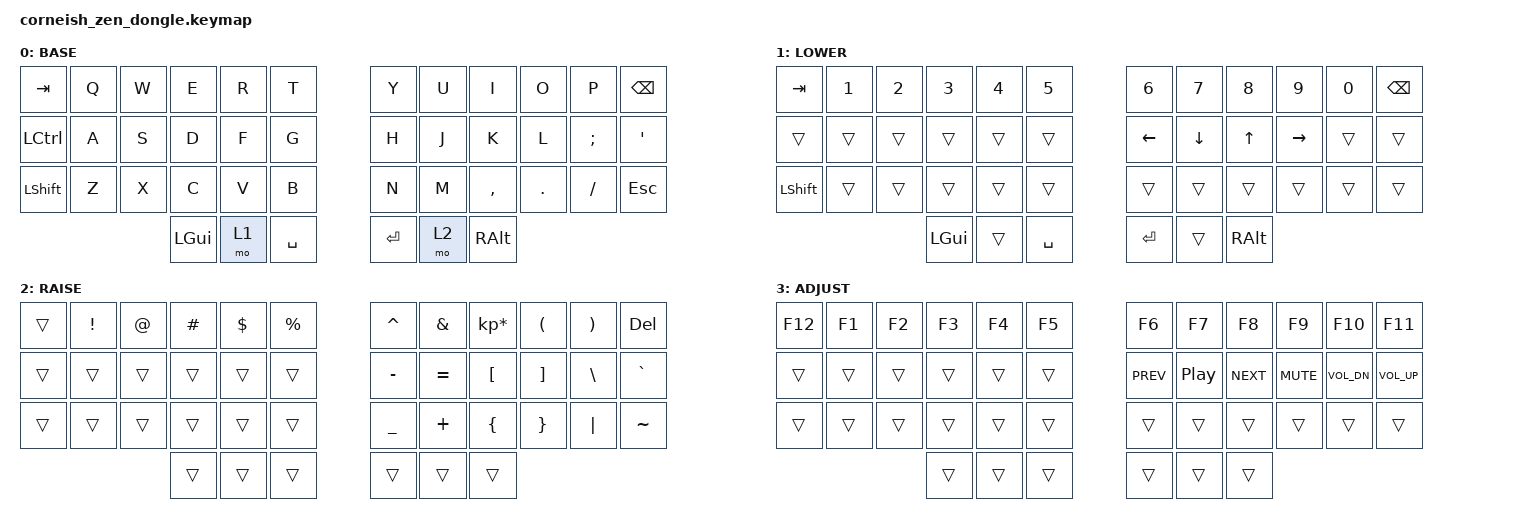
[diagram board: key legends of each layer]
/*
*
* Copyright (c) 2021 Darryl deHaan
* SPDX-License-Identifier: MIT
*
*/

#include <behaviors.dtsi>
#include <dt-bindings/zmk/keys.h>
#include <dt-bindings/zmk/bt.h>
#include <dt-bindings/zmk/outputs.h>

/ {
  chosen {
    zmk,matrix_transform = &default_transform;
  };
};

/ {
    conditional_layers {
        compatible = "zmk,conditional-layers";
        tri_layer {
            if-layers = <1 2>;
            then-layer = <3>;
        };
    };
    keymap {
        compatible = "zmk,keymap";

        default_layer {
            label = "BASE";
// --------------------------------------------------------------------------------
// |  TAB |  Q  |  W  |  E  |  R  |  T  |   |  Y  |  U   |  I  |  O  |  P  | BKSP |
// | CTRL |  A  |  S  |  D  |  F  |  G  |   |  H  |  J   |  K  |  L  |  ;  |  '   |
// | SHFT |  Z  |  X  |  C  |  V  |  B  |   |  N  |  M   |  ,  |  .  |  /  | ESC  |
//                    | GUI | LWR | SPC |   | ENT | RSE  | ALT |
            bindings = <
&kp TAB   &kp Q &kp W &kp E &kp R &kp T   &kp Y &kp U  &kp I     &kp O   &kp P    &kp BSPC
&kp LCTRL &kp A &kp S &kp D &kp F &kp G   &kp H &kp J  &kp K     &kp L   &kp SEMI &kp SQT
&kp LSHFT &kp Z &kp X &kp C &kp V &kp B   &kp N &kp M  &kp COMMA &kp DOT &kp FSLH &kp ESC
               &kp LGUI &mo 1 &kp SPACE   &kp RET &mo 2 &kp RALT
            >;
        };

        lower_layer {
            label = "LOWER";
// -----------------------------------------------------------------------------------------
// |  TAB |  1  |  2  |  3  |  4  |  5  |   |  6  |  7  |  8  |  9  |  0  | BKSP |
// |      |     |     |     |     |     |   | LFT | DWN |  UP | RGT |     |      |
// | SHFT |     |     |     |     |     |   |     |     |     |     |     |      |
//                    | GUI |     | SPC |   | ENT |     | ALT |
            bindings = <
&kp TAB   &kp N1 &kp N2 &kp N3 &kp N4 &kp N5   &kp N6   &kp N7   &kp N8 &kp N9    &kp N0 &kp BSPC
&trans    &trans &trans &trans &trans &trans   &kp LEFT &kp DOWN &kp UP &kp RIGHT &trans &trans
&kp LSHFT &trans &trans &trans &trans &trans   &trans   &trans   &trans &trans    &trans &trans
                   &kp LGUI &trans &kp SPACE   &kp RET  &trans   &kp RALT
            >;
        };

        raise_layer {
            label = "RAISE";
// -----------------------------------------------------------------------------
// |     |  !  |  @  |  #  |  $  |  %  |   |  ^  |  &  |  *  |  (  |  )  | DEL |
// |     |     |     |     |     |     |   |  -  |  =  |  {  |  }  |  \  |  `  |
// |     |     |     |     |     |     |   |  _  |  +  |  [  |  ]  |  |  |  ~  |
//                   |     | ADJ |     |   |     |     |     |
            bindings = <
&trans &kp EXCL &kp AT &kp HASH &kp DLLR &kp PRCNT   &kp CARET &kp AMPS  &kp KP_MULTIPLY &kp LPAR &kp RPAR &kp DEL
&trans &trans   &trans &trans   &trans   &trans      &kp MINUS &kp EQUAL &kp LBKT        &kp RBKT &kp BSLH &kp GRAVE
&trans &trans   &trans &trans   &trans   &trans      &kp UNDER &kp PLUS  &kp LBRC        &kp RBRC &kp PIPE &kp TILDE
                           &trans &trans &trans      &trans &trans &trans
            >;
        };

        adjust_layer {
            label = "ADJUST";
// -----------------------------------------------------------------------------
// | F12 |  F1 |  F2 |  F3 |  F4 |  F5 |   |  F6 |  F7 |  F8 |  F9 | F10 | F11 |
// |     |     |     |     |     |     |   | PRV |  PP | NXT | MUT | VDN | VUP |
// | CLR | BT1 | BT2 | BT3 | BT4 | TOG |   |     |     |     |     |     |     |   
//                   | GUI |     | SPC |   | ENT |     | ALT |
            bindings = <
&kp F12 &kp F1 &kp F2 &kp F3 &kp F4 &kp F5   &kp F6     &kp F7   &kp F8     &kp F9     &kp F10      &kp F11
&trans  &trans &trans &trans &trans &trans   &kp C_PREV &kp C_PP &kp C_NEXT &kp C_MUTE &kp C_VOL_DN &kp C_VOL_UP
&trans  &trans &trans &trans &trans &trans   &trans     &trans   &trans     &trans     &trans       &trans      
                      &trans &trans &trans   &trans &trans &trans
            >;
        };
    };
};
